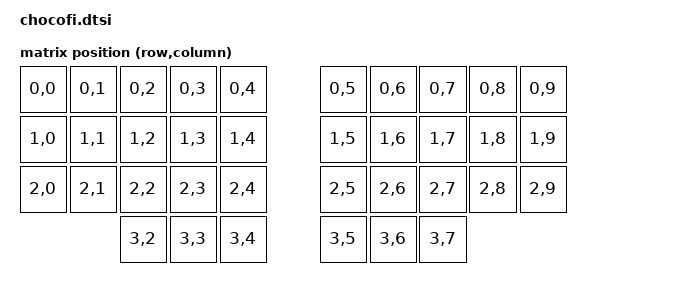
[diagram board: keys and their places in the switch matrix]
#include "./chocofi_common.dtsi"

&splitkb_5col_layout {
    transform = <&default_transform>;
};

/ {
    default_transform: keymap_transform_0 {
        compatible = "zmk,matrix-transform";
        columns = <10>;
        rows = <4>;
        map = <
RC(0,0) RC(0,1) RC(0,2) RC(0,3) RC(0,4) RC(0,5) RC(0,6) RC(0,7) RC(0,8) RC(0,9)
RC(1,0) RC(1,1) RC(1,2) RC(1,3) RC(1,4) RC(1,5) RC(1,6) RC(1,7) RC(1,8) RC(1,9)
RC(2,0) RC(2,1) RC(2,2) RC(2,3) RC(2,4) RC(2,5) RC(2,6) RC(2,7) RC(2,8) RC(2,9)
                RC(3,2) RC(3,3) RC(3,4) RC(3,5) RC(3,6) RC(3,7)
        >;
    };
};

&pinctrl {
    spi3_default: spi3_default {
        group1 {
            psels = <NRF_PSEL(SPIM_MOSI, 0, 8)>;
        };
    };
    spi3_sleep: spi3_sleep {
        group1 {
            psels = <NRF_PSEL(SPIM_MOSI, 0, 8)>;
            low-power-enable;
        };
    };
};

&spi3 {
    compatible = "nordic,nrf-spim";
    status = "okay";
    pinctrl-0 = <&spi3_default>;
    pinctrl-1 = <&spi3_sleep>;
    pinctrl-names = "default", "sleep";

    led_strip: ws2812@0 {
        compatible = "worldsemi,ws2812-spi";
        label = "WS2812";
        reg = <0>;
        spi-max-frequency = <4000000>;
        chain-length = <1>;
        spi-one-frame = <0x70>;
        spi-zero-frame = <0x40>;
        color-mapping = <LED_COLOR_ID_GREEN LED_COLOR_ID_RED LED_COLOR_ID_BLUE>;
    };
};
